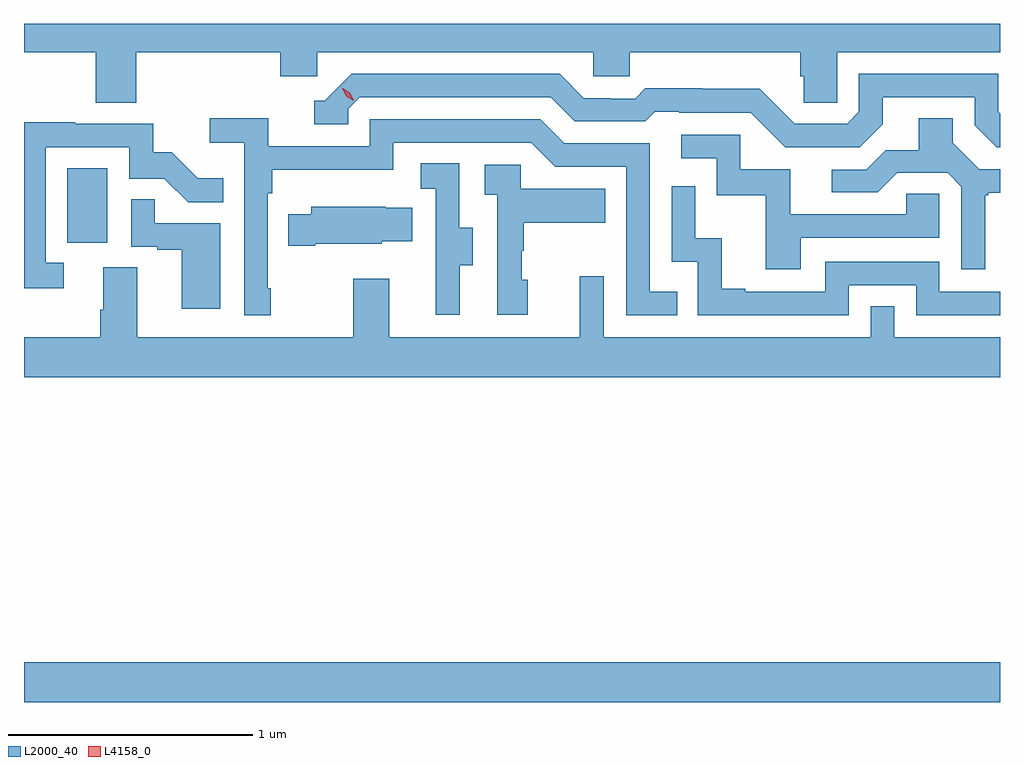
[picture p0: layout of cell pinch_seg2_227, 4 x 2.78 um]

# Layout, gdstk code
import gdstk
lib = gdstk.Library(unit=1e-6, precision=1e-09)
def R(c, l, rs):  # rectangles x0, y0, x1, y1
    for r in rs: c.add(gdstk.rectangle(r[:2], r[2:], *l))
def P(c, l, *ps):  # polygons
    for p in ps: c.add(gdstk.Polygon(p, *l))
L2000_40 = (2000, 40)
L4158_0 = (4158, 0)

pinch_seg2_227 = lib.new_cell('pinch_seg2_227')
R(pinch_seg2_227, L2000_40, [(951.466,663.62,955.466,663.784), (951.644,665.502,951.808,665.809)])
P(pinch_seg2_227, L2000_40, [(951.926,666.284),(952.517,666.284),(952.517,666.186),(952.668,666.186),(952.668,666.284),(953.799,666.284),(953.799,666.186),(953.949,666.186),(953.949,666.284),(954.647,666.284),(954.647,666.186),(954.661,666.186),(954.661,666.076),(954.798,666.076),(954.798,666.284),(955.466,666.284),(955.466,666.4),(951.466,666.4),(951.466,666.284),(951.761,666.284),(951.761,666.076),(951.926,666.076)],
  [(954.985,665.989),(954.985,666.099),(955.362,666.099),(955.362,665.985),(955.452,665.895),(955.466,665.895),(955.466,666.031),(955.458,666.039),(955.458,666.195),(954.888,666.195),(954.888,666.039),(954.84,665.991),(954.624,665.991),(954.482,666.133),(954.246,666.133),(954.246,666.136),(954.013,666.136),(953.971,666.093),(953.868,666.093),(953.868,666.096),(953.761,666.096),(953.662,666.195),(952.809,666.195),(952.698,666.084),(952.655,666.084),(952.655,665.988),(952.794,665.988),(952.794,666.051),(952.842,666.099),(953.625,666.099),(953.724,666),(954.013,666),(954.052,666.039),(954.151,666.039),(954.151,666.036),(954.444,666.036),(954.585,665.895),(954.891,665.895)],
  [(955.405,665.697),(955.417,665.697),(955.417,665.708),(955.466,665.708),(955.466,665.805),(955.38,665.805),(955.273,665.912),(955.273,666.014),(955.133,666.014),(955.133,665.882),(954.998,665.882),(954.918,665.802),(954.777,665.802),(954.777,665.709),(954.964,665.709),(955.045,665.79),(955.251,665.79),(955.308,665.733),(955.308,665.394),(955.405,665.394)],
  [(952.477,665.317),(952.464,665.317),(952.464,665.705),(952.484,665.705),(952.484,665.801),(952.98,665.801),(952.98,665.913),(953.544,665.913),(953.643,665.814),(953.934,665.814),(953.934,665.205),(954.143,665.205),(954.143,665.301),(954.03,665.301),(954.03,665.91),(953.68,665.91),(953.581,666.009),(952.884,666.009),(952.884,665.898),(952.466,665.898),(952.466,666.014),(952.227,666.014),(952.227,665.912),(952.368,665.912),(952.368,665.205),(952.477,665.205)],
  [(951.628,665.421),(951.555,665.421),(951.555,665.895),(951.897,665.895),(951.897,665.766),(952.041,665.766),(952.139,665.668),(952.283,665.668),(952.283,665.767),(952.179,665.767),(952.072,665.874),(951.996,665.874),(951.996,665.991),(951.677,665.991),(951.677,665.996),(951.466,665.996),(951.466,665.316),(951.628,665.316)],
  [(954.649,665.523),(955.218,665.523),(955.218,665.703),(955.081,665.703),(955.081,665.619),(954.607,665.619),(954.607,665.805),(954.402,665.805),(954.402,665.946),(954.159,665.946),(954.159,665.85),(954.306,665.85),(954.306,665.697),(954.505,665.697),(954.505,665.394),(954.649,665.394)],
  [(953.251,665.41),(953.305,665.41),(953.305,665.565),(953.25,665.565),(953.25,665.828),(953.091,665.828),(953.091,665.725),(953.154,665.725),(953.154,665.421),(953.153,665.421),(953.153,665.208),(953.251,665.208)],
  [(953.53,665.352),(953.505,665.352),(953.505,665.471),(953.515,665.471),(953.515,665.585),(953.849,665.585),(953.849,665.725),(953.502,665.725),(953.502,665.823),(953.355,665.823),(953.355,665.699),(953.406,665.699),(953.406,665.208),(953.53,665.208)],
  [(954.846,665.328),(955.122,665.328),(955.122,665.205),(955.466,665.205),(955.466,665.301),(955.218,665.301),(955.218,665.424),(954.75,665.424),(954.75,665.301),(954.421,665.301),(954.421,665.314),(954.326,665.314),(954.326,665.522),(954.216,665.522),(954.216,665.734),(954.12,665.734),(954.12,665.424),(954.228,665.424),(954.228,665.205),(954.846,665.205)],
  [(952.27,665.583),(952.001,665.583),(952.001,665.681),(951.906,665.681),(951.906,665.487),(952.013,665.487),(952.013,665.475),(952.112,665.475),(952.112,665.232),(952.27,665.232)],
  [(952.66,665.498),(952.932,665.498),(952.932,665.51),(953.057,665.51),(953.057,665.647),(952.949,665.647),(952.949,665.65),(952.643,665.65),(952.643,665.62),(952.549,665.62),(952.549,665.491),(952.66,665.491)],
  [(955.466,665.116),(955.032,665.116),(955.032,665.243),(954.936,665.243),(954.936,665.116),(953.841,665.116),(953.841,665.365),(953.744,665.365),(953.744,665.116),(952.963,665.116),(952.963,665.356),(952.816,665.356),(952.816,665.116),(951.931,665.116),(951.931,665.402),(951.791,665.402),(951.791,665.228),(951.779,665.228),(951.779,665.116),(951.466,665.116),(951.466,664.952),(955.466,664.952)])
P(pinch_seg2_227, L4158_0, [(952.818,666.085),(952.787,666.104),(952.771,666.137),(952.771,666.137),(952.772,666.137),(952.802,666.118),(952.818,666.086),(952.818,666.085)])

lib.write_gds('pinch_seg2_227.gds')
